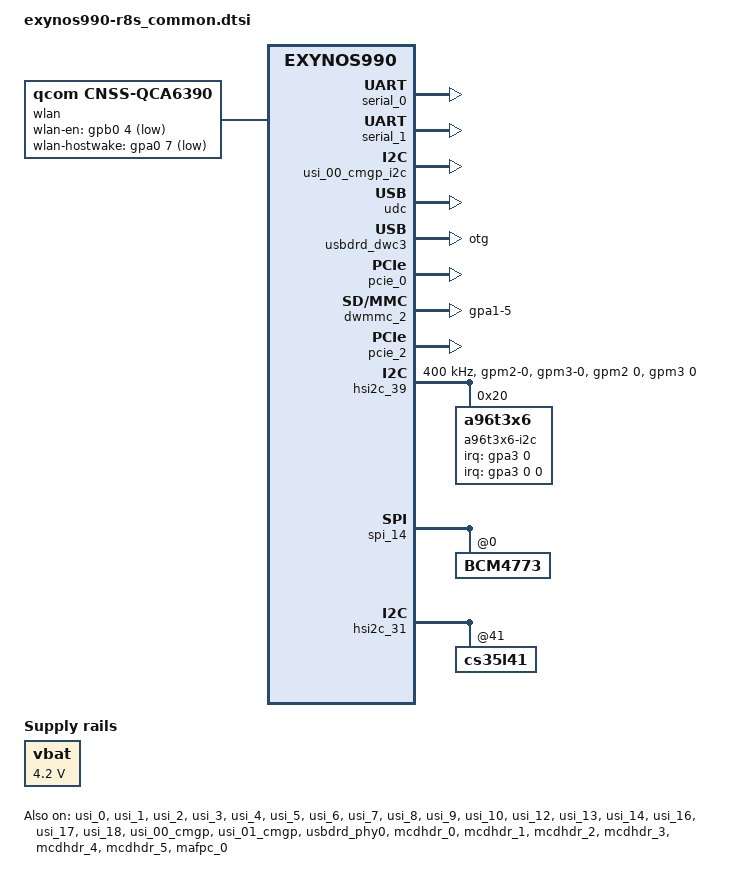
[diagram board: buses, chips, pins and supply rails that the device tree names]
/*
 * SAMSUNG EXYNOS990 board device tree source
 *
 * Copyright (c) 2019 Samsung Electronics Co., Ltd.
 *		http://www.samsung.com
 *
 * This program is free software; you can redistribute it and/or modify
 * it under the terms of the GNU General Public License version 2 as
 * published by the Free Software Foundation.
*/

#include <dt-bindings/clock/exynos9830.h>
#include "exynos990-r8_if-pmic-max77705.dtsi"
#include <dt-bindings/pci/pci.h>
#include "exynos990-r8s_camera.dtsi"
#include "exynos990-r8s_mst_r00.dtsi"
#include "exynos990-r8s_sound.dtsi"
#include "exynos990-r8s_input_common.dtsi"
#include "exynos990-r8_vib.dtsi"
#include "exynos9830-inputbooster.dtsi"
#include "exynos990-r8s_panel_display_modes.dtsi"

/ {
	compatible = "samsung,exynos990", "samsung,UNIVERSAL990";

	fragment@model {
		target-path = "/";
		__overlay__ {
			#address-cells = <2>;
			#size-cells = <1>;

			fixed-rate-clocks {
				oscclk {
					compatible = "samsung,exynos9830-oscclk";
					clock-frequency = <26000000>;
				};
			};

			exynos_rgt {
				compatible = "samsung,exynos-rgt";
				num-acpm-pmic = <2>;
			};

			firmware {
				android: android {
					compatible = "android,firmware";
					vbmeta {
						compatible = "android,vbmeta";
						parts = "vbmeta,boot,system,vendor,product,odm,prism,optics,vbmeta_samsung,recovery,dtbo,keystorage,harx";
					};
				};
			};

			usb_hs_tune:hs_tune {
				status = "disabled";
				hs_tune_cnt = <5>;
				/* value = <device host> */
				hs_tune1 {
					tune_name = "tx_pre_emp";
					tune_value = <0x3 0x3>;
				};

				hs_tune2 {
					tune_name = "tx_vref";
					tune_value = <0xc 0xc>;
				};

				hs_tune3 {
					tune_name = "rx_sqrx";
					tune_value = <0x5 0x5>;
				};

				hs_tune4 {
					tune_name = "utmi_clk";
					tune_value = <0x1 0x1>;
				};

				hs_tune5 {
					tune_name = "compdis";
					tune_value = <0x7 0x7>;
				};
			};

			usb_ss_tune:ss_tune {
				status = "disabled";
				ss_tune_cnt = <36>;
				/* value = <device host> */
				/* 0xffffffff means using default value */
				ss_tune1 {
					tune_name = "ssrx_sqhs_th_ss";
					tune_value = <0xffffffff 0xffffffff>;
				};

				ss_tune2 {
					tune_name = "ssrx_sqhs_th_ssp";
					tune_value = <0xffffffff 0xffffffff>;
				};

				ss_tune3 {
					tune_name = "ssrx_lfps_th";
					tune_value = <0xffffffff 0xffffffff>;
				};

				ss_tune4 {
					tune_name = "ssrx_adap_coef_sel";
					tune_value = <0xffffffff 0xffffffff>;
				};

				ss_tune5 {
					tune_name = "ssrx_mf_eq_psel_ctrl_ss";
					tune_value = <0xffffffff 0xffffffff>;
				};

				ss_tune6 {
					tune_name = "ssrx_mf_eq_psel_ctrl_ssp";
					tune_value = <0xffffffff 0xffffffff>;
				};

				ss_tune7 {
					tune_name = "ssrx_mf_eq_zsel_ctrl_ss";
					tune_value = <0xffffffff 0xffffffff>;
				};

				ss_tune8 {
					tune_name = "ssrx_mf_eq_zsel_ctrl_ssp";
					tune_value = <0xffffffff 0xffffffff>;
				};

				ss_tune9 {
					tune_name = "ssrx_hf_eq_rsel_ctrl_ss";
					tune_value = <0xffffffff 0xffffffff>;
				};

				ss_tune10 {
					tune_name = "ssrx_hf_eq_rsel_ctrl_ssp";
					tune_value = <0xffffffff 0xffffffff>;
				};

				ss_tune11 {
					tune_name = "ssrx_hf_eq_csel_ctrl_ss";
					tune_value = <0xffffffff 0xffffffff>;
				};

				ss_tune12 {
					tune_name = "ssrx_hf_eq_csel_ctrl_ssp";
					tune_value = <0xffffffff 0xffffffff>;
				};

				ss_tune13 {
					tune_name = "ssrx_dfe_1tap_ctrl_ss";
					tune_value = <0xffffffff 0xffffffff>;
				};

				ss_tune14 {
					tune_name = "ssrx_dfe_1tap_ctrl_ssp";
					tune_value = <0xffffffff 0xffffffff>;
				};

				ss_tune15 {
					tune_name = "ssrx_dfe_2tap_ctrl_ss";
					tune_value = <0xffffffff 0xffffffff>;
				};

				ss_tune16 {
					tune_name = "ssrx_dfe_2tap_ctrl_ssp";
					tune_value = <0xffffffff 0xffffffff>;
				};

				ss_tune17 {
					tune_name = "ssrx_dfe_3tap_ctrl_ss";
					tune_value = <0xffffffff 0xffffffff>;
				};

				ss_tune18 {
					tune_name = "ssrx_dfe_3tap_ctrl_ssp";
					tune_value = <0xffffffff 0xffffffff>;
				};

				ss_tune19 {
					tune_name = "ssrx_dfe_4tap_ctrl_ss";
					tune_value = <0xffffffff 0xffffffff>;
				};

				ss_tune20 {
					tune_name = "ssrx_dfe_4tap_ctrl_ssp";
					tune_value = <0xffffffff 0xffffffff>;
				};

				ss_tune21 {
					tune_name = "ssrx_dfe_5tap_ctrl_ss";
					tune_value = <0xffffffff 0xffffffff>;
				};

				ss_tune22 {
					tune_name = "ssrx_dfe_5tap_ctrl_ssp";
					tune_value = <0xffffffff 0xffffffff>;
				};

				ss_tune23 {
					tune_name = "ssrx_term_cal";
					tune_value = <0xffffffff 0xffffffff>;
				};

				ss_tune24 {
					tune_name = "sstx_amp_ss";
					tune_value = <0xffffffff 0xffffffff>;
				};

				ss_tune25 {
					tune_name = "sstx_deemp_ss";
					tune_value = <0xffffffff 0xffffffff>;
				};

				ss_tune26 {
					tune_name = "sstx_pre_shoot_ss";
					tune_value = <0xffffffff 0xffffffff>;
				};

				ss_tune27 {
					tune_name = "sstx_amp_ssp";
					tune_value = <0xffffffff 0xffffffff>;
				};

				ss_tune28 {
					tune_name = "sstx_deemp_ssp";
					tune_value = <0xffffffff 0xffffffff>;
				};

				ss_tune29 {
					tune_name = "sstx_pre_shoot_ssp";
					tune_value = <0xffffffff 0xffffffff>;
				};

				ss_tune30 {
					tune_name = "sstx_idrv_up";
					tune_value = <0xffffffff 0xffffffff>;
				};

				ss_tune31 {
					tune_name = "sstx_lfps_idrv_up";
					tune_value = <0xffffffff 0xffffffff>;
				};

				ss_tune32 {
					tune_name = "sstx_up_term";
					tune_value = <0xffffffff 0xffffffff>;
				};

				ss_tune33 {
					tune_name = "sstx_dn_term";
					tune_value = <0xffffffff 0xffffffff>;
				};

				ss_tune34 {
					tune_name = "rext_ovrd";
					tune_value = <0xffffffff 0xffffffff>;
				};

				ss_tune35 {
					tune_name = "ssrx_cdr_fbb_fine_ctrl_sp";
					tune_value = <0xffffffff 0xffffffff>;
				};

				ss_tune36 {
					tune_name = "ssrx_cdr_fbb_fine_ctrl_ssp";
					tune_value = <0xffffffff 0xffffffff>;
				};
			};

			usb_notifier {
				compatible = "samsung,usb-notifier";
				udc = <&udc>;

				usb-ldocontrol = <4>; /* Exynos9830 */
				disable_host_wakelock;
			};

			wlan: qcom,cnss-qca6390{
				compatible = "qcom,cnss-qca6390";
				wlan-en-gpio = <&gpb0 4 0x1 /* WLAN_EN */ >;
				pinctrl-names = "wlan_en_active", "wlan_en_sleep";
				pinctrl-0 = <&cnss_wlan_en_active>;
				pinctrl-1 = <&cnss_wlan_en_sleep>;
				memory-region = <&wifi_memory>;
				wlan,regulator_name = "VDD_WIFI_0P95";
				wlan-hostwake-gpio = <&gpa0 7 0x1>;
			};

			vbat: vbat {
				compatible = "regulator-fixed";
				regulator-name = "VBAT";
				regulator-min-microvolt = <4200000>;
				regulator-max-microvolt = <4200000>;
				regulator-boot-on;
			};

			hall {
				status = "okay";
				compatible = "hall";
				pinctrl-names = "default";
				pinctrl-0 = <&hall_irq>;
				hall,gpio_flip_cover = <&gpa3 6 1>;
			};

			certify_hall {
				status = "okay";
				compatible = "certify_hall";
				pinctrl-names = "default";
				pinctrl-0 = <&certify_hall_irq>;
				certify_hall,gpio_certify_cover = <&gpa0 2 1>;
			};

			sec_abc {
				compatible = "samsung,sec_abc";
				status = "okay";

				gpu {
					gpu,label="GPU fault";
					gpu,threshold_count=<20>;
					gpu,threshold_time=<1200>;
				};
				aicl {
					aicl,label="battery aicl";
					aicl,threshold_count=<5>;
					aicl,threshold_time=<300>;
				};
			};

			abc_hub {
				compatible = "samsung,abc_hub";
				status = "okay";

				bootc {
					bootc,time_spec_user = <100000>; /* user binary user build */
					bootc,time_spec_eng = <100000>; /* user binary eng build */
					bootc,time_spec_fac = <100000>; /* factory binary */
				};
			};

			nad_balancer {
				compatible = "samsung,sec_nad_balancer";
				status = "okay";

				nad_balancer,timeout = <400>;

				qos {
					cl0 {
						qos,label="LIT";
						qos,delay_time=<9>;
						qos,table_size=<13>;
						qos,table=<1950000 1846000 1742000 1586000 1456000 1300000 1157000 1053000 949000
							806000 650000 546000 442000>;
					};

					cl1 {
						qos,label="MID";
						qos,delay_time=<8>;
						qos,table_size=<17>;
						qos,table=<2314000 2210000 2106000 2002000 1898000 1794000 1690000 1586000 1508000
							1404000 1222000 1066000 962000 845000 754000 650000 507000>;
					};

					cl2 {
						qos,label="BIG";
						qos,delay_time=<7>;
						qos,table_size=<18>;
						qos,table=<2314000 2210000 2106000 2002000 1898000 1794000 1690000 1586000 1482000
							1378000 1274000 1170000 1066000 962000 888000 754000 650000 546000>;
					};

					mif {
						qos,label="MIF";
						qos,delay_time=<10>;
						qos,table_size=<5>;
						qos,table=<2028000 1716000 1539000 1352000 1014000>;
					};
				};

				sleep {
					/* per msec */
					sleep,suspend_threshold = <1000>;
					sleep,resume_threshold = <1000>;
				};
			};

			argos {
				compatible = "samsung,argos";
				#address-cells = <1>;
				/*  The device number should be assigned for each device, e.g. "boot_device@1" and "boot_device@2".
				 * Duplicated number is not allowed. Please refer the below example.
				 */

				/* Table Format
				 * threshold : throughput threshold(Mbps)
				 * big_min : Big Core's minimum frequency lock. 0 means not set,
				 * big_max : Big Core's maximum frequency lock. 0 means not set,
				 * mid_min : Middle Core's minimum frequency lock. 0 means not set,
				 * mid_max : Middle Core's maximum frequency lock. 0 means not set,
				 * lit_min : Little Core's minimum frequency lock. 0 means not set,
				 * lit_max : Little Core's maximum frequency lock. 0 means not set,
				 * mif : MIF frequency lock. 0 means not set,
				 * int : INT frequency lock. 0 means not set,
				 * task_affinity : "enable" - Set task affinity lock.
				 *	           "disable" - Not set or unlock,
				 *		   Task affinity should be predefined driver's code.
				 * irq_affinity : "enable" - Set irq affinity lock.
				 *                "disable" - Not set or unlock,
				 *		  IRQ affinity should be predefined driver's code.
				 * hmp_boot : "enable" - Increase hmp boosting count
				 *            "disable" - Decrease hmp boosting count
				 */

				boot_device@1 {
					net_boost,label="UFS";
					net_boost,node="";
					net_boost,sysnode="/sys/class/scsi_host/host0/transferred_cnt";
					net_boost,table {
						level_0 {
							threshold = <800>; /* 100 MB/s */
							mid_min = <1456000>;
							lit_min = <1456000>;
							int = <400000>;
						};
						level_1 {
							threshold = <1120>; /* 140 MB/s */
							mid_min = <2002000>;
							lit_min = <1950000>;
							int = <533000>;
						};
					};
				};
				boot_device@2 {
					net_boost,label="WIFI TX";
					net_boost,node="wlan0";
					net_boost,slowdown;
					net_boost,table {
						level_0 {
							threshold = <60>;
							mid_min = <1456000>;
							lit_min = <1456000>;
						};
						level_1 {
							threshold = <150>;
							mid_min = <1690000>;
							lit_min = <1742000>;
						};
						level_2 {
							threshold = <200>;
							mid_min = <1898000>;
							lit_min = <1742000>;
							mif = <1352000>;
							int = <400000>;
							task_affinity = "enable";
							irq_affinity = "enable";
							hmp_boost = "enable";
						};
						level_3 {
							threshold = <300>;
							mid_min = <2106000>;
							lit_min = <1742000>;
							mif = <1716000>;
							int = <533000>;
							task_affinity = "enable";
							irq_affinity = "enable";
							hmp_boost = "enable";
						};
					};
				};
				boot_device@3 {
					net_boost,label="WIFI RX";
					net_boost,node="wlan0";
					net_boost,slowdown;
					net_boost,table {
						level_0 {
							threshold = <100>;
							mid_min = <1053000>;
							lit_min = <1053000>;
						};
						level_1 {
							threshold = <150>;
							mid_min = <1404000>;
							lit_min = <1300000>;
						};
						level_2 {
							threshold = <200>;
							mid_min = <1690000>;
							lit_min = <1300000>;
							mif = <1352000>;
							int = <400000>;
							task_affinity = "enable";
							irq_affinity = "enable";
							hmp_boost = "enable";
						};
						level_3 {
							threshold = <300>;
							mid_min = <1898000>;
							lit_min = <1456000>;
							mif = <1716000>;
							int = <533000>;
							task_affinity = "enable";
							irq_affinity = "enable";
							hmp_boost = "enable";
						};
					};
				};
				boot_device@4 {
					net_boost,label="P2P";
					net_boost,node="p2p-wlan0-0";
					net_boost,slowdown;
					net_boost,table {
						level_0 {
							threshold = <60>;
							mid_min = <1456000>;
							lit_min = <1456000>;
						};
						level_1 {
							threshold = <150>;
							mid_min = <1690000>;
							lit_min = <1742000>;
						};
						level_2 {
							threshold = <200>;
							mid_min = <1898000>;
							lit_min = <1742000>;
							mif = <1352000>;
							int = <400000>;
							task_affinity = "enable";
							irq_affinity = "enable";
							hmp_boost = "enable";
						};
						level_3 {
							threshold = <300>;
							mid_min = <2106000>;
							lit_min = <1742000>;
							mif = <1716000>;
							int = <533000>;
							task_affinity = "enable";
							irq_affinity = "enable";
							hmp_boost = "enable";
						};
					};
				};
				boot_device@5 {
					net_boost,label="NAN";
					net_boost,node="aware_data0";
					net_boost,slowdown;
					net_boost,table {
						level_0 {
							threshold = <60>;
							mid_min = <1456000>;
							lit_min = <1456000>;
						};
						level_1 {
							threshold = <150>;
							mid_min = <1690000>;
							lit_min = <1742000>;
						};
						level_2 {
							threshold = <200>;
							mid_min = <1898000>;
							lit_min = <1742000>;
							mif = <1352000>;
							int = <400000>;
							task_affinity = "enable";
							irq_affinity = "enable";
							hmp_boost = "enable";
						};
						level_3 {
							threshold = <300>;
							mid_min = <2106000>;
							lit_min = <1742000>;
							mif = <1716000>;
							int = <533000>;
							task_affinity = "enable";
							irq_affinity = "enable";
							hmp_boost = "enable";
						};
					};
				};
				boot_device@6 {
					net_boost,label="IPC";
					net_boost,node="rmnet0 rmnet1 rmnet2 rmnet3 rmnet4 rmnet5 rmnet6 rmnet7 umts_dm0";
					net_boost,table {
						level_0 {
							threshold = <100>;
							lit_min = <1053000>;
						};
						/* uses middle */
						level_1 {
							threshold = <300>;
							lit_min = <1300000>;
						};
						level_2 {
							threshold = <500>;
							mid_min = <845000>;
							lit_min = <1300000>;
						};
						level_3 {
							threshold = <700>;
							mid_min = <1222000>;
							lit_min = <1300000>;
							mif = <1014000>;
						};
						level_4 {
							threshold = <800>;
							mid_min = <1222000>;
							lit_min = <1300000>;
							mif = <1014000>;
						};
						level_5 {
							threshold = <1500>;
							mid_min = <1508000>;
							lit_min = <1300000>;
							mif = <1014000>;
						};
						level_6 {
							threshold = <1600>;
							mid_min = <1508000>;
							lit_min = <1300000>;
							mif = <1014000>;
						};
					};
				};
				boot_device@7 {
					net_boost,label="USB";
					net_boost,node="rndis0";
					net_boost,table {
						level_0 {
							threshold = <100>;
							lit_min = <1053000>;
							irq_affinity = "enable";
						};
						level_1 {
							threshold = <200>;
							lit_min = <1540000>;
							mif = <1014000>;
							irq_affinity = "enable";
						};
						/* uses middle */
						level_2 {
							threshold = <300>;
							mid_min = <1508000>;
							lit_min = <1540000>;
							mif = <2093000>;
							int =<534000>;
							irq_affinity = "enable";
						};
						level_3 {
							threshold = <700>;
							mid_min = <2106000>;
							lit_min = <1794000>;
							mif = <2093000>;
							int =<534000>;
							irq_affinity = "enable";
						};
						level_4 {
							threshold = <800>;
							mid_min = <2106000>;
							lit_min = <1794000>;
							mif = <2535000>;
							int =<534000>;
							irq_affinity = "enable";
						};
						level_5 {
							threshold = <1500>;
							mid_min = <2314000>;
							lit_min = <1950000>;
							mif = <2730000>;
							int =<534000>;
							irq_affinity = "enable";
						};
						level_6 {
							threshold = <1600>;
							mid_min = <2314000>;
							lit_min = <1950000>;
							mif = <2730000>;
							int =<534000>;
							irq_affinity = "enable";
						};
					};
				};
			};
		}; /* end of __overlay__ */
	}; /* end of fragment */
}; /* end of root */

&serial_0 {
	samsung,uart-logging;
	status = "okay";
};

&serial_1 {
	samsung,rts-trig-level = <1>;
	samsung,uart-logging;
	samsung,uart-panic-log;
	status = "okay";
};

&pinctrl_0 {
	hall_irq: hall-irq {
		samsung,pins = "gpa3-6";
		samsung,pin-function = <0xf>;
		samsung,pin-pud = <0>;
		samsung,pin-drv = <0>;
	};

	certify_hall_irq: certify-hall-irq {
		samsung,pins = "gpa0-2";
		samsung,pin-function = <0xf>;
		samsung,pin-pud = <0>;
		samsung,pin-drv = <0>;
	};

	grip_irq: grip-irq {
		samsung,pins = "gpa3-0";
		samsung,pin-function = <0xf>;
		samsung,pin-pud = <0>;
		samsung,pin-drv = <3>;
		samsung,pin-con-pdn = <3>; // PREV in sleep
		samsung,pin-pud-pdn = <0>; // NP in sleep
	};
};

&fmp_0 {
	exynos,block-type = "sda";
	exynos,fips-block_offset = <5>;
};

&usi_0 {
	usi_v2_mode = "i2c";
	status = "okay";
};

&usi_1 {
	usi_v2_mode = "i2c";
	status = "okay";
};

&usi_2 {
	usi_v2_mode = "i2c";
	status = "okay";
};

&usi_3 {
	usi_v2_mode = "i2c";
	status = "okay";
};

&usi_4 {
	usi_v2_mode = "spi";
	status = "okay";
};

&usi_5 {
	usi_v2_mode = "i2c";
	status = "okay";
};

&usi_6 {
	usi_v2_mode = "spi";
	status = "okay";
};

&usi_7 {
	usi_v2_mode = "i2c";
	status = "okay";
};

&usi_8 {
	usi_v2_mode = "spi";
	status = "okay";
};

&usi_9 {
	usi_v2_mode = "spi";
	status = "okay";
};

&usi_10 {
	usi_v2_mode = "spi";
	status = "okay";
};

&usi_12 {
	usi_v2_mode = "i2c";
	status = "okay";
};

&usi_13 {
	usi_v2_mode = "i2c";
	status = "okay";
};

&usi_14 {
	usi_v2_mode = "spi";
	status = "okay";
};

&usi_16 {
	usi_v2_mode = "uart";
	status = "okay";
};

&usi_17 {
	usi_v2_mode = "i2c";
	status = "okay";
};

&usi_18 {
	usi_v2_mode = "spi";
	status = "okay";
};

&usi_00_cmgp {
	usi_v2_mode = "i2c";
	status = "okay";
};

&usi_00_cmgp_i2c {
	usi_v2_mode = "i2c";
	status = "okay";
};

&usi_01_cmgp {
	usi_v2_mode = "spi";
	status = "okay";
};

&serial_18 {
	pinctrl-0 = <&uart18_bus_dual>;
};

&udc {
	status = "okay";
};

&usbdrd_dwc3 {
	status = "okay";

	dr_mode = "otg";
	maximum-speed = "super-speed-plus";
	snps,quirk-frame-length-adjustment = <0x20>;
	/* snps,u1u2_exitfail_quirk; */
	/* ux_exit_in_px should be defined in MK, LT */
	snps,ux_exit_in_px_quirk;
	/* elastic_buf_mode_quirk should be defined in MK */
	snps,elastic_buf_mode_quirk;
	usb3-lpm-capable;
	snps,usb3_lpm_capable;
	adj-sof-accuracy = <1>;
	/*
	 * dis-u2-freeclk-exists-quirk, dis_u2_susphy_quirk are alternative.
	 * One of them should be selected
	 */
	snps,dis-u2-freeclk-exists-quirk;
	/*snps,dis_u2_susphy_quirk;*/
	samsung,no-extra-delay;
	samsung,force-gen1;
	usb_host_device_timeout = <200>; /* Max value */

	usb_audio_offloading = <1>;
	abox = <&abox>;
	/* check susphy support */
	xhci_l2_support = <1>;
};

&usbdrd_phy0 {
	status = "okay";

	/*
	pinctrl-names = "default";
	pinctrl-0 = <&phy_port>;
	*/
	use_default_tune_val = <0x1>;
	phy,gpio_phy_port = <&gpm26 0 0x0>;
	hs_tune_param = <&usb_hs_tune>;
	ss_tune_param = <&usb_ss_tune>;
};

&pcie_0 {
	pinctrl-names = "active";
	pinctrl-0 = <&pcie0_clkreq &pcie0_perst &wlan_host_wake>;
	status = "okay";
	use-msi = "true";
	max-link-speed = <LINK_SPEED_GEN2>;
	ep-device-type = <EP_QC_WIFI>;
};

&reserved_memory {
	wifi_memory: wifi_region {
		compatible = "shared-dma-pool";
		alloc-ranges = <0x0 0x80000000 0x80000000>;
		reusable;
		alignment = <0 0x400000>;
		size = <0x2800000>;
	};
};

&pinctrl_0 {
	conn_det_ctrl: conn-det-ctrl {
		samsung,pins = "gpa0-0";
		samsung,pin-pud = <0>;
	};
};

&pinctrl_1 {
	disp_det_ctrl:	disp-det-ctrl {
		samsung,pins = "gpm17-0";
		samsung,pin-pud = <0>;
	};
};

&pinctrl_5 {
	disp_buck_en_ctrl: disp_buck_en_ctrl {
		samsung,pins = "gpb2-7";
		samsung,pin-con-pdn = <3>; // prev in sleep
		samsung,pin-pud-pdn = <0>; // np in sleep
	};

	disp_te_ctrl:	disp-te-ctrl {
		samsung,pins = "gpc0-4";
		samsung,pin-con-pdn = <3>; // prev in sleep
		samsung,pin-pud-pdn = <0>; // np in sleep
	};
};

&panel_drv_0 {
	status = "okay";
	ddi_info = <&ea8079>;

	#address-cells = <2>;
	#size-cells = <1>;
	ranges;
	pinctrl-names = "default";
	pinctrl-0 = <&conn_det_ctrl &disp_det_ctrl &disp_te_ctrl &disp_buck_en_ctrl>;
	decon_board = <&decon_board_ea8079>;

	decon_board_ea8079: decon_board_ea8079 {
			gpio_lcd_rst = <&gpa3 4 0>;
			gpio_lcd_power = <&gpb2 7 0>;

			panel_power_enable {
				type =
				"gpio,high",	"gpio_lcd_power",
				"delay,usleep",	"10000",
				"gpio,high",	"gpio_lcd_rst",
				"delay,usleep",	"10000";
			};

			panel_power_disable {
				type =
				"gpio,low",	"gpio_lcd_rst",
				"delay,usleep",	"10000",
				"gpio,low",	"gpio_lcd_power";
			};
	};

	gpios {
		conn-det {
			name = "conn-det";
			gpios = <&gpa0 0 0>; 	/* 0:OK, 1:NOK (detach) */
			dir = <1>;  				/* IN */
			irq-type = <0x00002001>;	/* RISING EDGE | ONE_SHOT */
		};

		disp-det {
			name = "disp-det";
			gpios = <&gpm17 0 1>;  /* 0:OK, 1:NOK(active) */
			dir = <1>;  /* IN */
			irq-type = <0x2>;   /* FALLING EDGE */
			irq-pend {
				reg = <0x0 0x15850A34 0x0>;
				bit = <0x2>;
			};
		};

		pcd {
			name = "pcd";
			gpios = <&gpa1 1 1>;	/* 0:NOK(PCD) 1:OK */
			dir = <1>;				/* IN */
			irq-type = <0x2>;		/* FALLING EDGE */
		};

		err-fg {
			name = "err-fg";
			gpios = <&gpa3 5 0>; 		/* 0:NOK(active) 1:OK */
			dir = <1>;  				/* IN */
			irq-type = <0x00002001>;	/* RISING EDGE | ONE_SHOT */
		};
	};

	regulators {
	};

	panel-lookup {
		panel-name = "ea8076_r8s_pre", "ea8079_r8s_dv", "ea8079_r8s_default", "s6e3fc3_r8s_default";
		panel-ddi-info = <&ea8076 &ea8079 &s6e3fc3>;
		panel-display-modes = <&r8s_pre_panel_display_modes &r8s_panel_display_modes &r8s_panel_display_modes>;
		panel-lut = <
			0x801080 0xF0F0F0 0x0 0x0	/* EA8076	1080X2400 R8 PANEL BRING UP */
			0x800040 0xF000FF 0x1 0x1	/* EA8079	1080X2400 R8 PANEL DV */
			0x800041 0xF000FF 0x1 0x1	/* EA8079	1080X2400 R8 PANEL DV */
			0x800040 0xF000F0 0x2 0x1	/* EA8079	1080X2400 R8 PANEL 1st */
			0x805080 0xF0F0F0 0x3 0x2	/* S6E3FC3	1080X2400 R8 PANEL 2nd */
			0x000000 0x000000 0x2 0x1	/* default */
		>;
	};
};

&pinctrl_0 {
	dwmmc2_cd_ext_irq: dwmmc2_cd_ext_irq {
		samsung,pins = "gpa1-5";
		samsung,pin-function = <0xf>;
		samsung,pin-pud = <0>;
		samsung,pin-drv = <4>;
	};
};

&ufs {
	/* board type for UFS CAL */
	brd-for-cal = /bits/ 8 <16>;  /* (1:SMDK, 16:UNIV) board */
	hpb-enable = <0>;
};

&dwmmc_2 {
	#address-cells = <2>;
	#size-cells = <1>;
	status = "okay";
	num-slots = <1>;
	supports-4bit;
	supports-cmd23;
	supports-erase;
	supports-highspeed;
	sd-uhs-sdr50;
	sd-uhs-sdr104;
	card-detect-gpio;
	bypass-for-allpass;
	use-fine-tuning;
	card-init-hwacg-ctrl;
	skip-init-mmc-scan;
	card-detect-invert;
	fifo-depth = <0x40>;
	qos_dvfs_level = <400000>;
	desc-size = <4>;
	ssc-rate = <3>;
	card-detect-delay = <200>;
	data-timeout = <200>;
	hto-timeout = <80>;
	samsung,dw-mshc-ciu-div = <3>;
	clock-frequency = <800000000>;
	samsung,dw-mshc-sdr-timing = <3 0 2 0>;
	samsung,dw-mshc-ddr-timing = <3 0 2 1>;
	samsung,dw-mshc-sdr50-timing = <3 0 4 2>;
	samsung,dw-mshc-sdr104-timing = <3 0 3 0>;

	num-ref-clks = <9>;
	ciu_clkin = <25 50 50 25 50 100 200 50 50>;

	/* Swapping clock drive strength */
	clk-drive-number = <6>;
	pinctrl-names = "default",
		"fast-slew-rate-1x",
		"fast-slew-rate-1_5x",
		"fast-slew-rate-2x",
		"fast-slew-rate-2_5x",
		"fast-slew-rate-3x",
		"fast-slew-rate-4x",
		"pins-as-pdn",
		"pins-as-func";
	pinctrl-0 = <&sd2_clk &sd2_cmd &sd2_bus1 &sd2_bus4 &dwmmc2_cd_ext_irq>;
	pinctrl-1 = <&sd2_clk_fast_slew_rate_1x>;
	pinctrl-2 = <&sd2_clk_fast_slew_rate_1_5x>;
	pinctrl-3 = <&sd2_clk_fast_slew_rate_2x>;
	pinctrl-4 = <&sd2_clk_fast_slew_rate_2_5x>;
	pinctrl-5 = <&sd2_clk_fast_slew_rate_3x>;
	pinctrl-6 = <&sd2_clk_fast_slew_rate_4x>;
	pinctrl-7 = <&sd2_pins_as_pdn>;
	pinctrl-8 = <&sd2_clk &sd2_cmd &sd2_bus1 &sd2_bus4>;

	card-detect = <&gpa1 5 0xf>;
	sec-sd-slot-type = <2>; /* Hybrid Tray SD slot */

	slot@0 {
		reg = <0>;
		bus-width = <4>;
		disable-wp;
	};
};

&pcie_2 {
	status = "okay";
	use-sysmmu = "false";
	use-cache-coherency = "true";
	use-msi = "true";
	use-pcieon-sleep = "true";
	phy-power-off = "false";
	ep-device-type = <EP_SAMSUNG_MODEM>;
};

&pinctrl_1 {
	grip_i2c: grip-i2c {
		samsung,pins = "gpm2-0", "gpm3-0";
		samsung,pin-function = <3>;
		samsung,pin-pud = <0>;
		samsung,pin-drv = <0>;
	};
};

&hsi2c_39 { /* 15D10000 */
	#address-cells = <1>;
	#size-cells = <0>;
	gpios = <&gpm2 0 0 &gpm3 0 0>;
	status = "okay";
	clock-frequency = <400000>;

	pinctrl-names = "default";
	pinctrl-0 = <&grip_i2c>;

	a96t3x6-i2c@20 {
		compatible = "a96t3x6";
		reg = <0x20>;
		status = "okay";
		pinctrl-names = "default";
		pinctrl-0 = <&grip_irq>;
		interrupt-parent = <&gpa3>;
		interrupts = <0 0 0>;

		a96t3x6,irq_gpio = <&gpa3 0 0>;
		a96t3x6,dvdd_vreg_name = "VDD_GRIP_3P0";
		a96t3x6,fw_path = "a96t356_r8s.bin";
		a96t3x6,firmup_cmd = <0x3b>;
	};
};

&spi_14 {
        BCM4773@0 {
        	ssp-ap-type = <0>;
        	ssp-mag-array = /bits/ 8 <153 82 4 239 242 224 0 207 211 55 5 189 207 202 255 71 255 86 160 91 190 252 4 15 10 190 188>;
        };
};

&mcdhdr_0 {
	status = "okay";
};

&mcdhdr_1 {
	status = "okay";
};

&mcdhdr_2 {
	status = "okay";
};

&mcdhdr_3 {
	status = "okay";
};

&mcdhdr_4 {
	status = "okay";
};

&mcdhdr_5 {
	status = "okay";
};
&mafpc_0 {
    status = "okay";
};

&hsi2c_31 {
	cs35l41@41 {
		cirrus,bd-max-temp = <105>;
	};
};

&camera_heap {
	size = <0x1F400000>;
};
